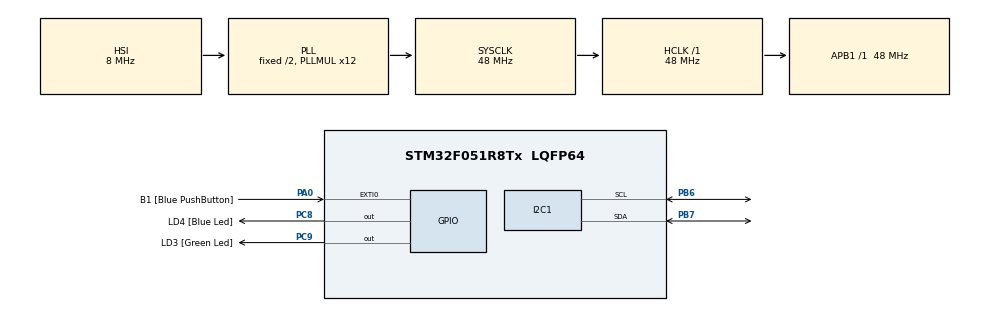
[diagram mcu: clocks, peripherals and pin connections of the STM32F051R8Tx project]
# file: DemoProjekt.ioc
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Mcu.Family=STM32F0
Mcu.Name=STM32F051R8Tx
Mcu.Package=LQFP64
NVIC.EXTI0_1_IRQn=true\:0\:0\:false\:false\:true\:true\:true
PA0.GPIO_Label=B1 [Blue PushButton]
PA0.GPIO_ModeDefaultEXTI=GPIO_MODE_IT_FALLING
PA0.GPIO_PuPd=GPIO_PULLDOWN
PA0.Signal=GPXTI0
PA13.GPIO_Label=SWDIO
PA13.Mode=Serial_Wire
PA13.Signal=SYS_SWDIO
PA14.GPIO_Label=SWCLK
PA14.Mode=Serial_Wire
PA14.Signal=SYS_SWCLK
PB6.Mode=I2C
PB6.Signal=I2C1_SCL
PB7.Mode=I2C
PB7.Signal=I2C1_SDA
PC8.GPIO_Label=LD4 [Blue Led]
PC8.Signal=GPIO_Output
PC9.GPIO_Label=LD3 [Green Led]
PC9.Signal=GPIO_Output
ProjectManager.HeapSize=0x200
ProjectManager.StackSize=0x400
ProjectManager.TargetToolchain=STM32CubeIDE
RCC.AHBFreq_Value=48000000
RCC.APB1Freq_Value=48000000
RCC.APB1TimFreq_Value=48000000
RCC.HCLKFreq_Value=48000000
RCC.PLLMUL=RCC_PLL_MUL12
RCC.SYSCLKFreq_VALUE=48000000
RCC.SYSCLKSource=RCC_SYSCLKSOURCE_PLLCLK
board=STM32F0DISCOVERY

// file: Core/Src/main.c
/* USER CODE BEGIN Header */
/**
 ******************************************************************************
 * @file           : main.c
 * @brief          : Main program body
 ******************************************************************************
 * @attention
 *
 * <h2><center>&copy; Copyright (c) 2021 STMicroelectronics.
 * All rights reserved.</center></h2>
 *
 * This software component is licensed by ST under BSD 3-Clause license,
 * the "License"; You may not use this file except in compliance with the
 * License. You may obtain a copy of the License at:
 *                        opensource.org/licenses/BSD-3-Clause
 *
 ******************************************************************************
 */
/* USER CODE END Header */
#include "main.h"

I2C_HandleTypeDef hi2c1;

/* USER CODE BEGIN PV */
unsigned char buffer[5];
float currentTemp;
float threshold = -999;
/* USER CODE END PV */

void SystemClock_Config(void);
static void MX_GPIO_Init(void);
static void MX_I2C1_Init(void);

/* USER CODE BEGIN 0 */
volatile uint32_t i = 0;
/* USER CODE END 0 */

int main(void)
{

	/* MCU Configuration--------------------------------------------------------*/

	/* Reset of all peripherals, Initializes the Flash interface and the Systick. */
	HAL_Init();

	/* USER CODE BEGIN Init */

	uint8_t initBuffer[3]={0xbe,0x08,0x00};
	uint8_t triggerBuffer[3]={0xAC,0x33,0x00};
	uint8_t readBuffer[7];
	uint8_t stateByte;
	uint32_t outputTemp;

	/* USER CODE END Init */

	/* Configure the system clock */
	SystemClock_Config();

	/* Initialize all configured peripherals */
	MX_GPIO_Init();
	MX_I2C1_Init();
	/* USER CODE BEGIN 2 */

	//AHT20 Temperature and humidity sensor initialisation
	HAL_Delay(50);
	HAL_I2C_Master_Receive(&hi2c1, 0x38<<1, &stateByte, sizeof(stateByte), 50);
	if (!(stateByte >> 3 & 0x01)){
		HAL_I2C_Master_Transmit(&hi2c1, 0x38<<1, initBuffer, sizeof(initBuffer), 50);
		HAL_Delay(10);
	}

	/* USER CODE END 2 */

	/* Infinite loop */
	/* USER CODE BEGIN WHILE */
	while (1)
	{
		//Trigger measurement
		HAL_I2C_Master_Transmit(&hi2c1, 0x38<<1, triggerBuffer, sizeof(triggerBuffer), 100);

		//Receive measurement data
		do {
			HAL_Delay(80); //wait for measurement
			HAL_I2C_Master_Receive(&hi2c1, 0x38<<1, readBuffer, sizeof(readBuffer), 100); //read sensor data
		} while ((readBuffer[0] >> 7 & 0x01)); //continue waiting if measurement not completed in time

		outputTemp = (readBuffer[3]&0x0F)<<16 | readBuffer[4]<<8 | readBuffer[5];
		//Calculate temperature in °C
		currentTemp = (((float)outputTemp/1048576) * 200) - 50;

		//check temperature
		if (currentTemp < threshold) //wenn gemessene Temperatur unter Schwellwert, LED blinken lassen
		{
			for (int i = 0; i < 2; i++) {
				HAL_GPIO_WritePin(LD4_GPIO_Port, LD4_Pin, GPIO_PIN_SET); //Blaue LED an
				HAL_Delay(500);
				HAL_GPIO_WritePin(LD4_GPIO_Port, LD4_Pin, GPIO_PIN_RESET); //Blaue LED aus
				HAL_Delay(500);
			}
		}

		/* USER CODE END WHILE */

	}
}

void SystemClock_Config(void)
{
	RCC_OscInitTypeDef RCC_OscInitStruct = {0};
	RCC_ClkInitTypeDef RCC_ClkInitStruct = {0};
	RCC_PeriphCLKInitTypeDef PeriphClkInit = {0};

	/** Initializes the RCC Oscillators according to the specified parameters
	 * in the RCC_OscInitTypeDef structure.
	 */
	RCC_OscInitStruct.OscillatorType = RCC_OSCILLATORTYPE_HSI;
	RCC_OscInitStruct.HSIState = RCC_HSI_ON;
	RCC_OscInitStruct.HSICalibrationValue = RCC_HSICALIBRATION_DEFAULT;
	RCC_OscInitStruct.PLL.PLLState = RCC_PLL_ON;
	RCC_OscInitStruct.PLL.PLLSource = RCC_PLLSOURCE_HSI;
	RCC_OscInitStruct.PLL.PLLMUL = RCC_PLL_MUL12;
	RCC_OscInitStruct.PLL.PREDIV = RCC_PREDIV_DIV1;
	if (HAL_RCC_OscConfig(&RCC_OscInitStruct) != HAL_OK)
	{
		Error_Handler();
	}
	/** Initializes the CPU, AHB and APB buses clocks
	 */
	RCC_ClkInitStruct.ClockType = RCC_CLOCKTYPE_HCLK|RCC_CLOCKTYPE_SYSCLK
			|RCC_CLOCKTYPE_PCLK1;
	RCC_ClkInitStruct.SYSCLKSource = RCC_SYSCLKSOURCE_PLLCLK;
	RCC_ClkInitStruct.AHBCLKDivider = RCC_SYSCLK_DIV1;
	RCC_ClkInitStruct.APB1CLKDivider = RCC_HCLK_DIV1;

	if (HAL_RCC_ClockConfig(&RCC_ClkInitStruct, FLASH_LATENCY_1) != HAL_OK)
	{
		Error_Handler();
	}
	PeriphClkInit.PeriphClockSelection = RCC_PERIPHCLK_I2C1;
	PeriphClkInit.I2c1ClockSelection = RCC_I2C1CLKSOURCE_HSI;
	if (HAL_RCCEx_PeriphCLKConfig(&PeriphClkInit) != HAL_OK)
	{
		Error_Handler();
	}
}

static void MX_I2C1_Init(void)
{

	hi2c1.Instance = I2C1;
	hi2c1.Init.Timing = 0x2000090E;
	hi2c1.Init.OwnAddress1 = 0;
	hi2c1.Init.AddressingMode = I2C_ADDRESSINGMODE_7BIT;
	hi2c1.Init.DualAddressMode = I2C_DUALADDRESS_DISABLE;
	hi2c1.Init.OwnAddress2 = 0;
	hi2c1.Init.OwnAddress2Masks = I2C_OA2_NOMASK;
	hi2c1.Init.GeneralCallMode = I2C_GENERALCALL_DISABLE;
	hi2c1.Init.NoStretchMode = I2C_NOSTRETCH_DISABLE;
	if (HAL_I2C_Init(&hi2c1) != HAL_OK)
	{
		Error_Handler();
	}
	/** Configure Analogue filter
	 */
	if (HAL_I2CEx_ConfigAnalogFilter(&hi2c1, I2C_ANALOGFILTER_ENABLE) != HAL_OK)
	{
		Error_Handler();
	}
	/** Configure Digital filter
	 */
	if (HAL_I2CEx_ConfigDigitalFilter(&hi2c1, 0) != HAL_OK)
	{
		Error_Handler();
	}

}

static void MX_GPIO_Init(void)
{
	GPIO_InitTypeDef GPIO_InitStruct = {0};

	/* GPIO Ports Clock Enable */
	__HAL_RCC_GPIOA_CLK_ENABLE();
	__HAL_RCC_GPIOC_CLK_ENABLE();
	__HAL_RCC_GPIOB_CLK_ENABLE();

	/*Configure GPIO pin Output Level */
	HAL_GPIO_WritePin(GPIOC, LD4_Pin|LD3_Pin, GPIO_PIN_RESET);

	/*Configure GPIO pin : B1_Pin */
	GPIO_InitStruct.Pin = B1_Pin;
	GPIO_InitStruct.Mode = GPIO_MODE_IT_FALLING;
	GPIO_InitStruct.Pull = GPIO_PULLDOWN;
	HAL_GPIO_Init(B1_GPIO_Port, &GPIO_InitStruct);

	/*Configure GPIO pins : LD4_Pin LD3_Pin */
	GPIO_InitStruct.Pin = LD4_Pin|LD3_Pin;
	GPIO_InitStruct.Mode = GPIO_MODE_OUTPUT_PP;
	GPIO_InitStruct.Pull = GPIO_NOPULL;
	GPIO_InitStruct.Speed = GPIO_SPEED_FREQ_LOW;
	HAL_GPIO_Init(GPIOC, &GPIO_InitStruct);

	/* EXTI interrupt init*/
	HAL_NVIC_SetPriority(EXTI0_1_IRQn, 0, 0);
	HAL_NVIC_EnableIRQ(EXTI0_1_IRQn);

}

/* USER CODE BEGIN 4 */
void HAL_GPIO_EXTI_Callback(uint16_t GPIO_Pin)
{
	// Interrupt: wenn blauer User-Knopf gedrückt wird, aktuelle Temperatur als Schwellwert setzen
	threshold = currentTemp ; //Schwellwert setzen
}
/* USER CODE END 4 */

void Error_Handler(void)
{
	__disable_irq();
	while (1)
	{
	}
}

/************************ (C) COPYRIGHT STMicroelectronics *****END OF FILE****/
